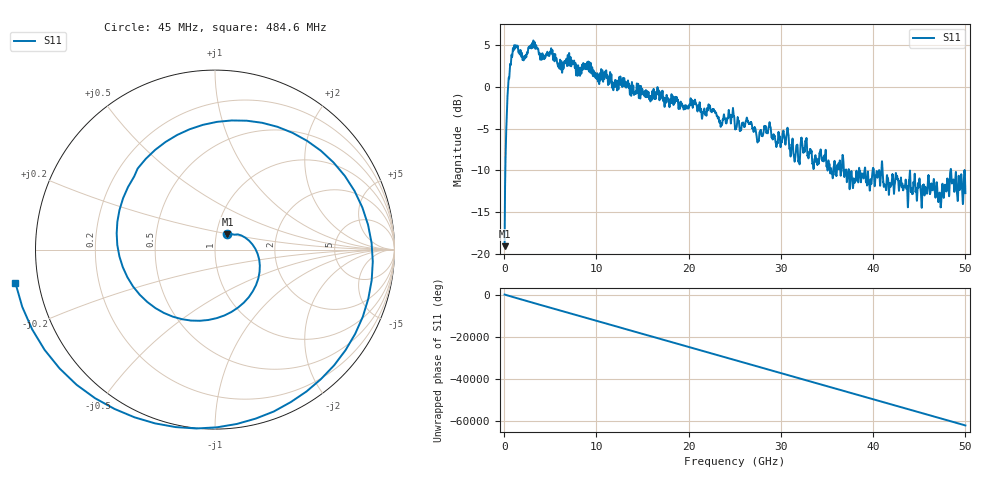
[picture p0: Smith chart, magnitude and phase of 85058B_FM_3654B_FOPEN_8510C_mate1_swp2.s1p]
!Created with skrf (http://scikit-rf.org).
# Hz S RI R 50.0
!freq ReS11 ImS11
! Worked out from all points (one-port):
!   10001 points, 45 MHz to 50 GHz, reference 50 ohm
!   lowest |S11| = -19.1 dB at 45 MHz (marker M1), VSWR 1.25, Z = 56.5 + j9.98 ohm
!   |S11| at or under -10 dB: 37.36 GHz to 38.45 GHz (1.09 GHz wide, 2.87 % of centre); 41.01 GHz to 48.39 GHz (7.377 GHz wide, 16.5 % of centre); 48.45 GHz to 49.91 GHz (1.463 GHz wide, 2.98 % of centre) (the widest 3 of 18)
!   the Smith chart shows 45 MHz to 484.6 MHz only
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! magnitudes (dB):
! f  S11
! 45 MHz  -19.1
! 319.8 MHz  -2.0
! 434.6 MHz  0.1
! 699.4 MHz  2.6
! 1.024 GHz  4.4
! 2.188 GHz  3.7
! 3.237 GHz  4.7
! 6.289 GHz  1.7
! 12.53 GHz  0.3
! 18.78 GHz  -1.7
! 25.02 GHz  -4.9
! 26.51 GHz  -4.4
! 27.53 GHz  -6.4
! 28.69 GHz  -4.8
! 29.45 GHz  -6.7
! 30.6 GHz  -5.8
! 31.27 GHz  -6.2
! 32.56 GHz  -7.8
! 33.61 GHz  -8.9
! 36.57 GHz  -10.0
! 37.51 GHz  -11.1
! 40.77 GHz  -11.7
! 41.3 GHz  -11.8
! 43.76 GHz  -14.4
! 46.46 GHz  -12.2
! 47.21 GHz  -12.7
! 48.52 GHz  -11.5
! 50 GHz  -12.7
